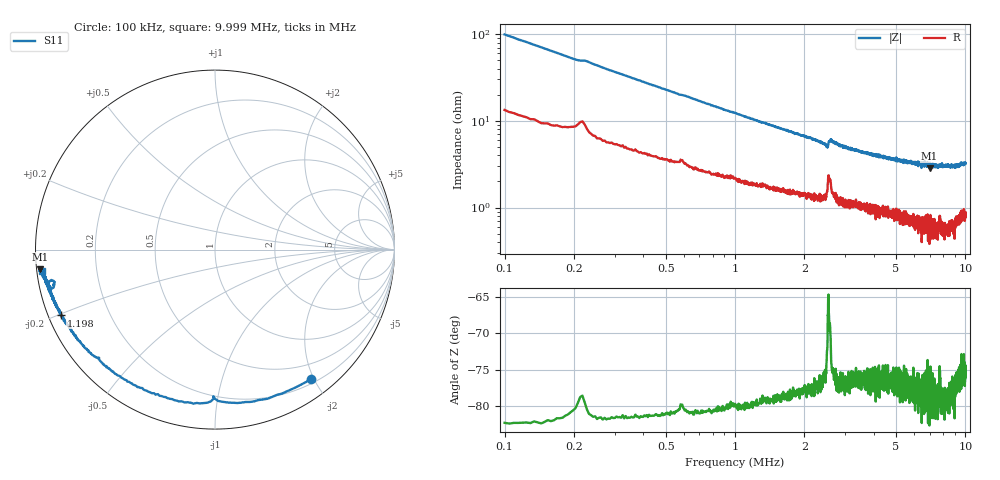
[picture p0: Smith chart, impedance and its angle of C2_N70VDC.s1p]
# HZ S RI R 50
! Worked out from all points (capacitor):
!   2020 points, 100 kHz to 9.999 MHz, reference 50 ohm
!   read as one part to ground: C = 14.9 nF near 149 kHz
!   lowest |Z| = 2.84 ohm at 6.989 MHz (marker M1)
!   S11 on the Smith chart (normalised r, x): 100 kHz: 0.27, -1.96; 1.198 MHz: 0.04, -0.21; 9.999 MHz: 0.02, -0.06
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100000  0.5364 -0.7188
129418  0.3722 -0.8025
158836  0.2185 -0.8457
188254  0.0777 -0.8528
232381  -0.0441 -0.8534
291217  -0.2362 -0.8333
325538  -0.3183 -0.8057
369665  -0.4055 -0.7712
457919  -0.5368 -0.7019
516755  -0.5975 -0.6573
570688  -0.6456 -0.6129
747196  -0.7467 -0.5224
933510  -0.8057 -0.4464
1198272  -0.8555 -0.3669
1340459  -0.8704 -0.3368
1776826  -0.9052 -0.2692
2335768  -0.9266 -0.2105
2502470  -0.9249 -0.1819
2576015  -0.9003 -0.1953
2639754  -0.9193 -0.2077
2811359  -0.9338 -0.1968
3816474  -0.9482 -0.1557
5052030  -0.9609 -0.1282
6287586  -0.9668 -0.1206
6988715  -0.9741 -0.1094
7528045  -0.9717 -0.1167
8763601  -0.9684 -0.1149
9999157  -0.9621 -0.1195
